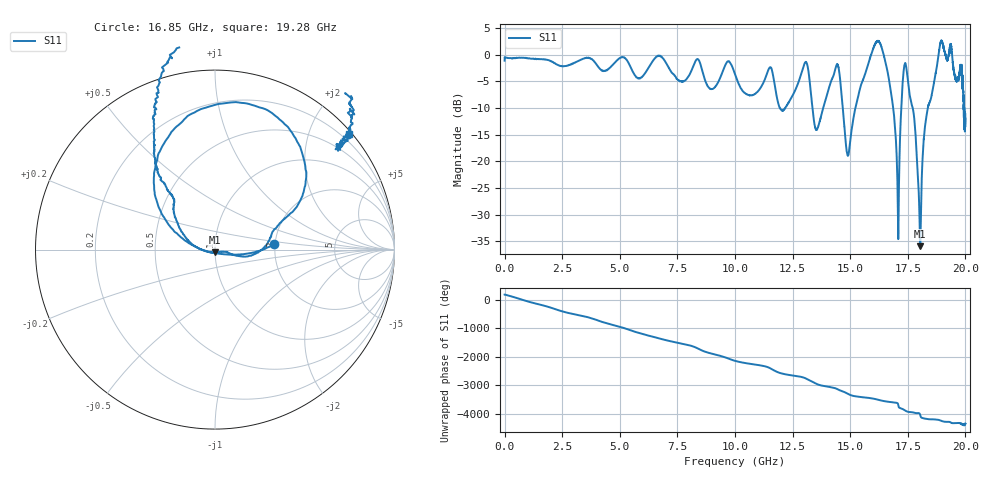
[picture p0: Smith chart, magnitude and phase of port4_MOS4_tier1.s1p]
! Created with skrf 1.8.0 (http://scikit-rf.org).
# GHz S RI R 50.0
!freq ReS11 ImS11
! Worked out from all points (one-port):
!   10001 points, 1 MHz to 20 GHz, reference 50 ohm
!   lowest |S11| = -35.9 dB at 18.04 GHz (marker M1), VSWR 1.03, Z = 50.1 - j1.61 ohm
!   |S11| at or under -10 dB: 13.36 GHz to 13.83 GHz (467.9 MHz wide, 3.44 % of centre); 14.68 GHz to 15.23 GHz (549.1 MHz wide, 3.67 % of centre); 17.71 GHz to 18.37 GHz (659.2 MHz wide, 3.65 % of centre) (the widest 3 of 10)
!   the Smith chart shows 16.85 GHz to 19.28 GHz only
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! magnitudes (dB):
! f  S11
! 1 MHz  -1.1
! 2.501 GHz  -2.2
! 5.001 GHz  -0.6
! 7.501 GHz  -4.6
! 8.363 GHz  -0.8
! 8.947 GHz  -6.5
! 10 GHz  -3.7
! 10.72 GHz  -7.6
! 11.53 GHz  -2.4
! 12 GHz  -10.3
! 12.5 GHz  -7.7
! 13.09 GHz  -1.4
! 13.56 GHz  -13.9
! 14.44 GHz  -1.8
! 14.84 GHz  -18.0
! 15 GHz  -16.2
! 15.45 GHz  -6.0
! 16.23 GHz  2.5
! 16.77 GHz  -7.2
! 17.07 GHz  -30.8
! 17.31 GHz  -3.3
! 17.5 GHz  -4.6
! 17.78 GHz  -11.8
! 18.04 GHz  -35.9
! 18.29 GHz  -12.1
! 18.94 GHz  2.4
! 19.8 GHz  -2.6
! 20 GHz  -12.0
